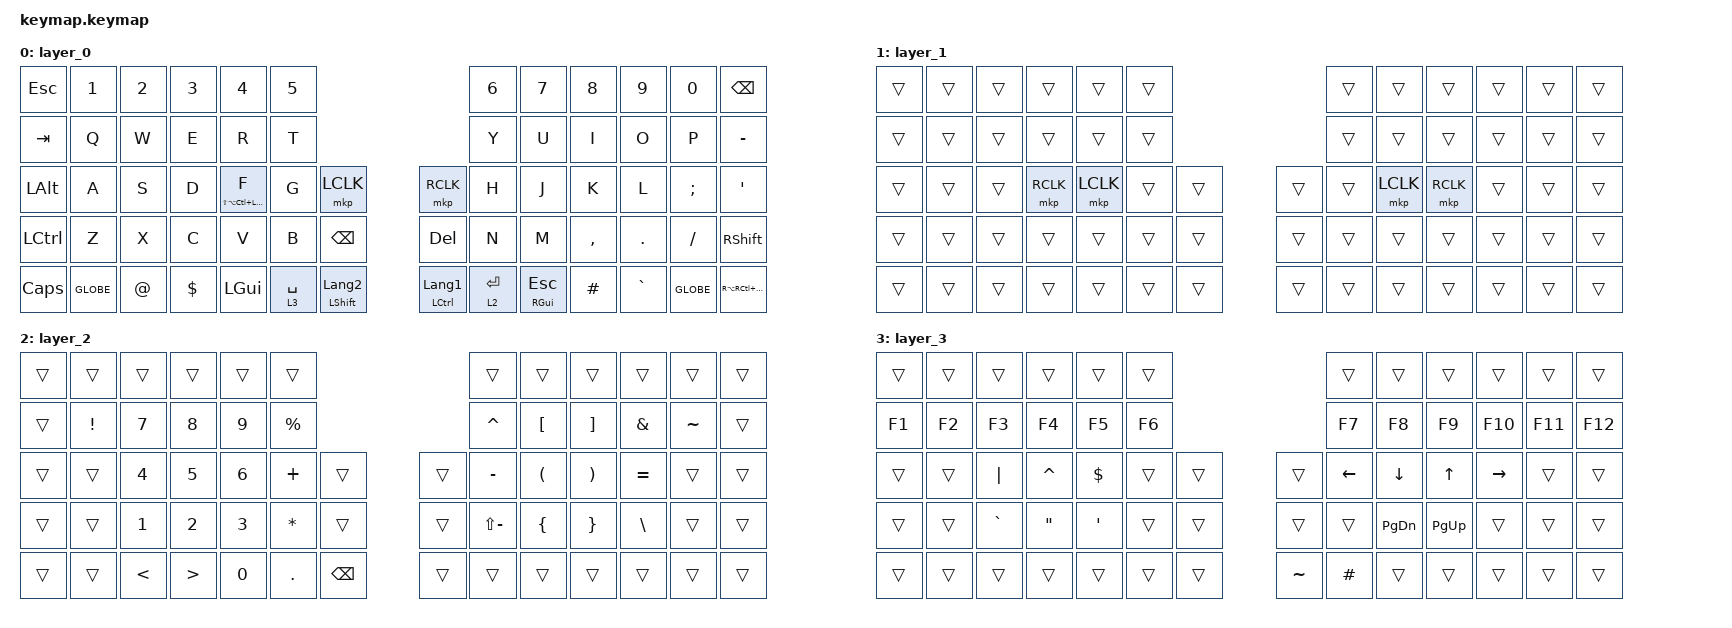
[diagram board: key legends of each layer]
#include <behaviors.dtsi>
#include <dt-bindings/zmk/bt.h>
#include <dt-bindings/zmk/keys.h>
#include <dt-bindings/zmk/pointing.h>

/ {
    combos {
        compatible = "zmk,combos";

        bt_clear {
            bindings = <&bt BT_CLR>;
            key-positions = <28 29>;
            layers = <2>;
        };
    };

    keymap {
        compatible = "zmk,keymap";

        layer_0 {
            bindings = <
&kp ESC    &kp N1     &kp N2       &kp N3      &kp N4                  &kp N5                                                        &kp N6       &kp N7        &kp N8     &kp N9     &kp N0     &kp BSPC
&kp TAB    &kp Q      &kp W        &kp E       &kp R                   &kp T                                                         &kp Y        &kp U         &kp I      &kp O      &kp P      &kp MINUS
&kp LALT   &kp A      &kp S        &kp D       &mt LS(LA(LC(LGUI))) F  &kp G        &mkp LCLK                  &mkp RCLK             &kp H        &kp J         &kp K      &kp L      &kp SEMI   &kp SQT
&kp LCTRL  &kp Z      &kp X        &kp C       &kp V                   &kp B        &kp BACKSPACE              &kp DEL               &kp N        &kp M         &kp COMMA  &kp DOT    &kp SLASH  &kp RSHFT
&kp CAPS   &kp GLOBE  &kp AT_SIGN  &kp DOLLAR  &kp LGUI                &lt 3 SPACE  &mt LEFT_SHIFT LANGUAGE_2  &mt LCTRL LANGUAGE_1  &lt 2 ENTER  &mt RGUI ESC  &kp HASH   &kp GRAVE  &kp GLOBE  &kp RA(RC(RS(RGUI)))
            >;
        };

        layer_1 {
            bindings = <
&trans  &trans  &trans  &trans     &trans     &trans                  &trans  &trans     &trans     &trans  &trans  &trans
&trans  &trans  &trans  &trans     &trans     &trans                  &trans  &trans     &trans     &trans  &trans  &trans
&trans  &trans  &trans  &mkp RCLK  &mkp LCLK  &trans  &trans  &trans  &trans  &mkp LCLK  &mkp RCLK  &trans  &trans  &trans
&trans  &trans  &trans  &trans     &trans     &trans  &trans  &trans  &trans  &trans     &trans     &trans  &trans  &trans
&trans  &trans  &trans  &trans     &trans     &trans  &trans  &trans  &trans  &trans     &trans     &trans  &trans  &trans
            >;
        };

        layer_2 {
            bindings = <
&trans  &trans           &trans         &trans            &trans        &trans                               &trans         &trans                &trans                 &trans         &trans     &trans
&trans  &kp EXCLAMATION  &kp N7         &kp NUMBER_8      &kp NUMBER_9  &kp PERCENT                          &kp CARET      &kp LEFT_BRACKET      &kp RIGHT_BRACKET      &kp AMPERSAND  &kp TILDE  &trans
&trans  &trans           &kp NUMBER_4   &kp NUMBER_5      &kp NUMBER_6  &kp PLUS      &trans         &trans  &kp MINUS      &kp LEFT_PARENTHESIS  &kp RIGHT_PARENTHESIS  &kp EQUAL      &trans     &trans
&trans  &trans           &kp NUMBER_1   &kp NUMBER_2      &kp NUMBER_3  &kp ASTERISK  &trans         &trans  &kp LS(MINUS)  &kp LEFT_BRACE        &kp RIGHT_BRACE        &kp BACKSLASH  &trans     &trans
&trans  &trans           &kp LESS_THAN  &kp GREATER_THAN  &kp NUMBER_0  &kp PERIOD    &kp BACKSPACE  &trans  &trans         &trans                &trans                 &trans         &trans     &trans
            >;
        };

        layer_3 {
            bindings = <
&trans  &trans  &trans     &trans             &trans            &trans                     &trans    &trans         &trans        &trans     &trans   &trans
&kp F1  &kp F2  &kp F3     &kp F4             &kp F5            &kp F6                     &kp F7    &kp F8         &kp F9        &kp F10    &kp F11  &kp F12
&trans  &trans  &kp PIPE   &kp CARET          &kp DOLLAR        &trans  &trans  &trans     &kp LEFT  &kp DOWN       &kp UP_ARROW  &kp RIGHT  &trans   &trans
&trans  &trans  &kp GRAVE  &kp DOUBLE_QUOTES  &kp SINGLE_QUOTE  &trans  &trans  &trans     &trans    &kp PAGE_DOWN  &kp PAGE_UP   &trans     &trans   &trans
&trans  &trans  &trans     &trans             &trans            &trans  &trans  &kp TILDE  &kp HASH  &trans         &trans        &trans     &trans   &trans
            >;
        };
    };
};
